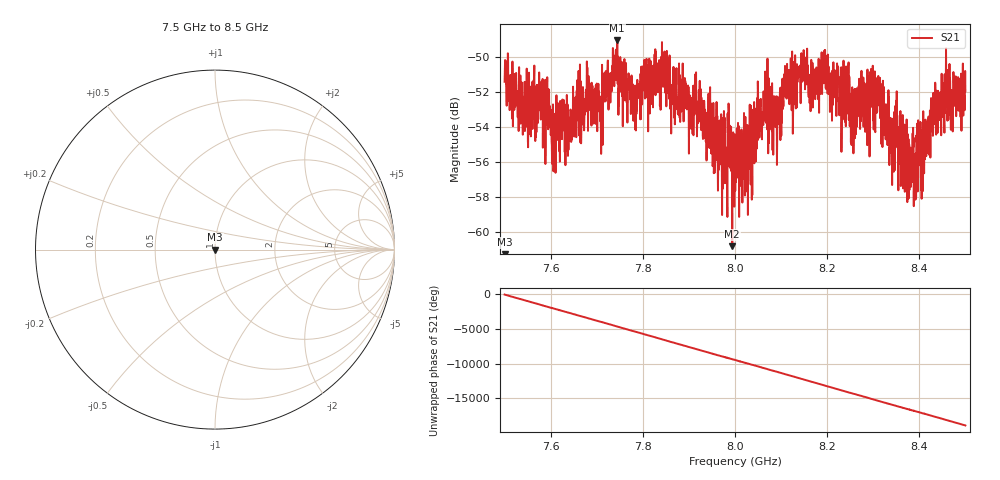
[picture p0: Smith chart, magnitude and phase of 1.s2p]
!Keysight Technologies,P9374A,MY57212427,A.14.10.08
!Date: Monday, July 18, 2022 16:37:21
!Correction: S11(Off)
!S21(Off)
!S12(Off)
!S22(Off)
!S2P File: Measurement: :
# Hz S  dB  R 50
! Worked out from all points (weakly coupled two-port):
!   2001 points, 7.5 GHz to 8.5 GHz, reference 50 ohm
!   highest |S21| = -49.08 dB at 7.745 GHz (marker M1); lowest = -60.8 dB at 7.994 GHz (marker M2)
!   lowest |S11| = - dB at 7.5 GHz (marker M3), VSWR 1.00, Z = 50 + j7.07e-09 ohm
!   |S11| at or under -10 dB: start of sweep to end of sweep
!   S12 and S22 are empty: the file has one direction only
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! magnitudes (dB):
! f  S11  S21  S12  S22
! 7.5 GHz  -  -51.4  -  -
! 7.543 GHz  -  -52.7  -  -
! 7.577 GHz  -  -51.8  -  -
! 7.606 GHz  -  -54.8  -  -
! 7.667 GHz  -  -52.3  -  -
! 7.71 GHz  -  -54.2  -  -
! 7.745 GHz  -  -49.1  -  -
! 7.782 GHz  -  -51.7  -  -
! 7.833 GHz  -  -51.6  -  -
! 7.925 GHz  -  -52.9  -  -
! 7.994 GHz  -  -60.8  -  -
! 8 GHz  -  -55.0  -  -
! 8.112 GHz  -  -52.4  -  -
! 8.167 GHz  -  -52.2  -  -
! 8.198 GHz  -  -50.2  -  -
! 8.257 GHz  -  -52.8  -  -
! 8.31 GHz  -  -52.8  -  -
! 8.334 GHz  -  -54.6  -  -
! 8.379 GHz  -  -57.6  -  -
! 8.407 GHz  -  -57.5  -  -
! 8.435 GHz  -  -52.2  -  -
! 8.5 GHz  -  -52.0  -  -
